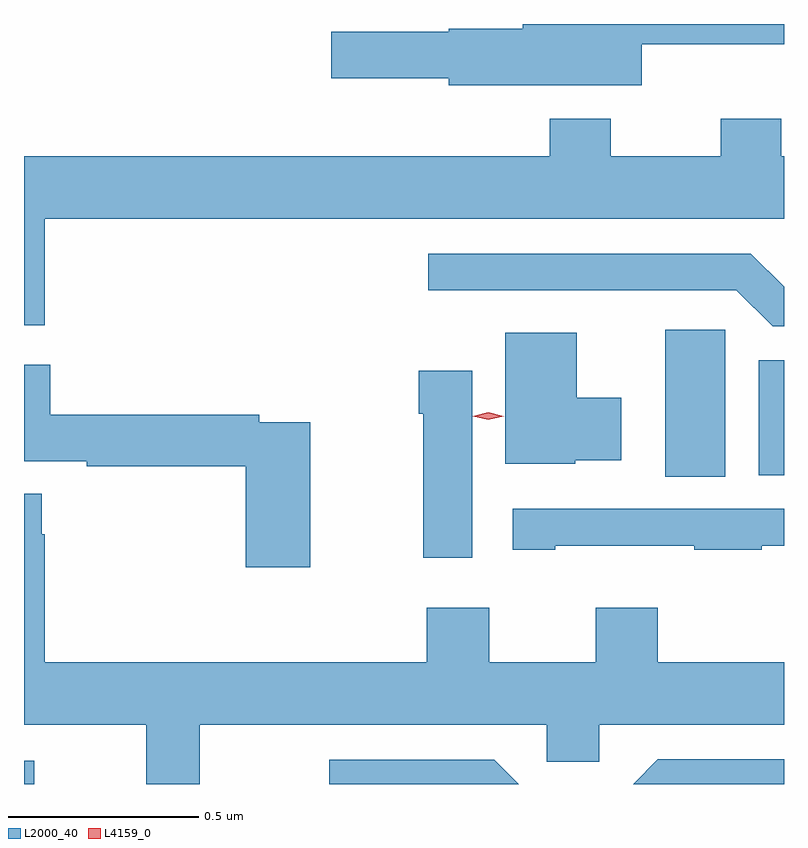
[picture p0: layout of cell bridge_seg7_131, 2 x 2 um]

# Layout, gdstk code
import gdstk
lib = gdstk.Library(unit=1e-6, precision=1e-09)
def R(c, l, rs):  # rectangles x0, y0, x1, y1
    for r in rs: c.add(gdstk.rectangle(r[:2], r[2:], *l))
def P(c, l, *ps):  # polygons
    for p in ps: c.add(gdstk.Polygon(p, *l))
L2000_40 = (2000, 40)
L4159_0 = (4159, 0)

bridge_seg7_131 = lib.new_cell('bridge_seg7_131')
R(bridge_seg7_131, L2000_40, [(790.345,1028.432,790.372,1028.493), (792.032,1029.241,792.19,1029.628), (792.278,1029.245,792.345,1029.547)])
P(bridge_seg7_131, L2000_40, [(791.97,1030.379),(792.345,1030.379),(792.345,1030.432),(791.658,1030.432),(791.658,1030.42),(791.463,1030.42),(791.463,1030.411),(791.154,1030.411),(791.154,1030.289),(791.463,1030.289),(791.463,1030.271),(791.97,1030.271)],
  [(790.399,1029.92),(792.345,1029.92),(792.345,1030.084),(792.338,1030.084),(792.338,1030.183),(792.178,1030.183),(792.178,1030.084),(791.889,1030.084),(791.889,1030.183),(791.729,1030.183),(791.729,1030.084),(790.345,1030.084),(790.345,1029.639),(790.399,1029.639)],
  [(792.345,1029.741),(792.258,1029.828),(791.409,1029.828),(791.409,1029.732),(792.219,1029.732),(792.315,1029.636),(792.345,1029.636)],
  [(791.796,1029.284),(791.917,1029.284),(791.917,1029.448),(791.8,1029.448),(791.8,1029.619),(791.612,1029.619),(791.612,1029.275),(791.796,1029.275)],
  [(791.098,1029.384),(790.964,1029.384),(790.964,1029.404),(790.414,1029.404),(790.414,1029.535),(790.345,1029.535),(790.345,1029.281),(790.51,1029.281),(790.51,1029.268),(790.928,1029.268),(790.928,1029.003),(791.098,1029.003)],
  [(791.524,1029.52),(791.384,1029.52),(791.384,1029.407),(791.396,1029.407),(791.396,1029.027),(791.524,1029.027)],
  [(790.807,1028.588),(791.721,1028.588),(791.721,1028.49),(791.859,1028.49),(791.859,1028.588),(792.345,1028.588),(792.345,1028.752),(792.013,1028.752),(792.013,1028.896),(791.849,1028.896),(791.849,1028.752),(791.569,1028.752),(791.569,1028.896),(791.405,1028.896),(791.405,1028.752),(790.399,1028.752),(790.399,1029.089),(790.392,1029.089),(790.392,1029.196),(790.345,1029.196),(790.345,1028.588),(790.667,1028.588),(790.667,1028.432),(790.807,1028.432)],
  [(791.743,1029.059),(792.109,1029.059),(792.109,1029.048),(792.287,1029.048),(792.287,1029.059),(792.345,1029.059),(792.345,1029.156),(791.631,1029.156),(791.631,1029.048),(791.743,1029.048)],
  [(792.345,1028.497),(792.013,1028.497),(791.948,1028.432),(792.345,1028.432)],
  [(791.583,1028.496),(791.148,1028.496),(791.148,1028.432),(791.647,1028.432)])
P(bridge_seg7_131, L4159_0, [(791.567,1029.39),(791.526,1029.4),(791.526,1029.4),(791.526,1029.4),(791.567,1029.41),(791.608,1029.4),(791.608,1029.4),(791.608,1029.4)])

lib.write_gds('bridge_seg7_131.gds')
